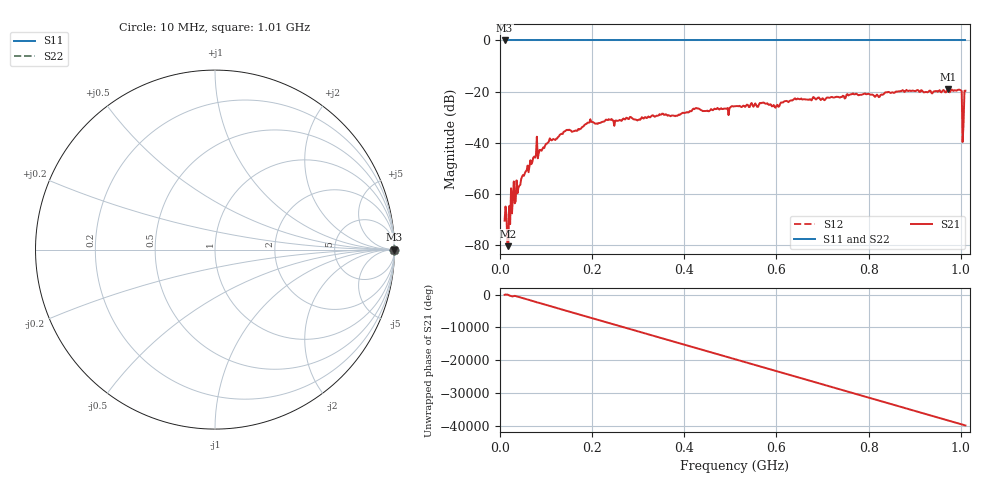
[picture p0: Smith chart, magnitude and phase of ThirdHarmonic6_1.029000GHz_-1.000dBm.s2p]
! 8/16/2025 8:45:48 AM
! C:\ANRITSUVNA\TEMP\TEMP.S2P
! CHANNEL.1
! TR.MEASUREMENT
! RAW.DATA
! RF.CORRECTION.OFF
! AVERAGING.OFF
! IF.BANDWIDTH: 5KHZ
! SWEEPTYPE:  FREQ.SWEEP(Linear)
! Reference Plane Port Info
! PORT:  PORT1  PORT2
! DISTANCE:  0  m  0  m
! TIME:  0  s  0  s
! PHASE.OFFSET:  0  deg.  0  deg.
! LOSS:  0  dB  0  dB
! REF.LOSS:  0  dB  0  dB
! REF.FREQ:  0  Hz  0  Hz
! Power Info
! POWER:  -20  dBm  -20  dBm
! EFF.POWER:  -20  dBm  -20  dBm
! SOURCE.ATTEN:  0  dB  0  dB
! TEST.ATTEN:  0  dB  0  dB
# GHZ S RI R 50.0
! FREQ.GHZ  S11RE  S11IM  S21RE  S21IM  S12RE  S12IM  S22RE  S22IM
!; PortSelection: Port_12
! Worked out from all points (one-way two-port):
!   501 points, 10 MHz to 1.01 GHz, reference 50 ohm
!   highest |S21| = -19.10 dB at 972 MHz (marker M1); lowest = -80.5 dB at 18 MHz (marker M2)
!   lowest |S11| = 0.0 dB at 10 MHz (marker M3)
!   |S11| at or under -10 dB: nowhere
!   |S22| runs from 0.0 to 0.0 dB; largest |S21 - S12| = 1.1
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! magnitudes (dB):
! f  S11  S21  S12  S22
! 10 MHz  0.0  -70.5  0.0  0.0
! 14 MHz  0.0  -68.2  0.0  0.0
! 18 MHz  0.0  -80.5  0.0  0.0
! 28 MHz  0.0  -60.9  0.0  0.0
! 30 MHz  0.0  -55.2  0.0  0.0
! 32 MHz  0.0  -63.7  0.0  0.0
! 36 MHz  0.0  -54.7  0.0  0.0
! 76 MHz  0.0  -45.9  0.0  0.0
! 142 MHz  0.0  -35.4  0.0  0.0
! 178 MHz  0.0  -33.9  0.0  0.0
! 194 MHz  0.0  -32.1  0.0  0.0
! 344 MHz  0.0  -29.4  0.0  0.0
! 510 MHz  0.0  -25.8  0.0  0.0
! 568 MHz  0.0  -24.4  0.0  0.0
! 600 MHz  0.0  -25.5  0.0  0.0
! 678 MHz  0.0  -22.8  0.0  0.0
! 844 MHz  0.0  -20.1  0.0  0.0
! 972 MHz  0.0  -19.1  0.0  0.0
! 998 MHz  0.0  -19.3  0.0  0.0
! 1.002 GHz  0.0  -19.7  0.0  0.0
! 1.008 GHz  0.0  -19.7  0.0  0.0
! 1.01 GHz  0.0  -19.7  0.0  0.0
